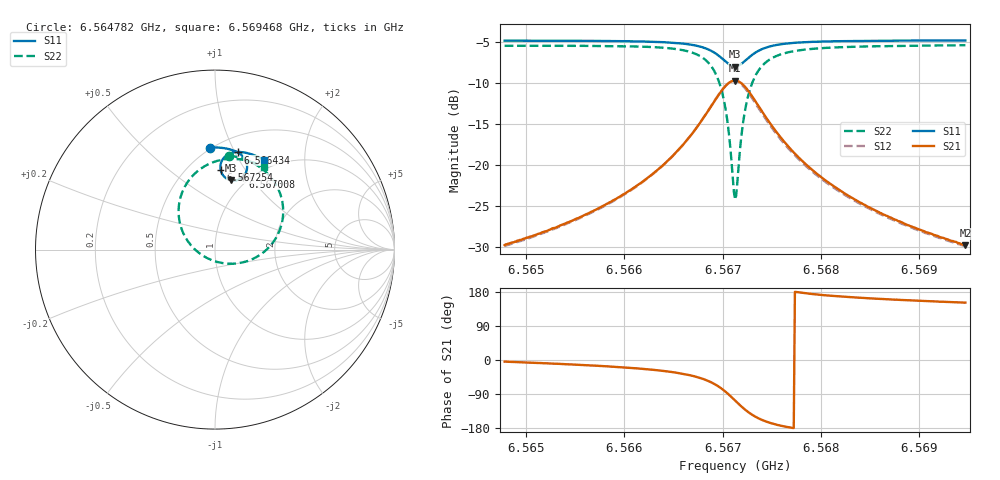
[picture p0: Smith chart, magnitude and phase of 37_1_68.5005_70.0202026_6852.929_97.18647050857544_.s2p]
#  HZ  S  RI  R  50.00
! Rohde & Schwarz Vector Network Analyzer
! Rohde-Schwarz,ZNB20-2Port,1311601062101988,3.16
! Created: UTC 3/20/2024, 4:50:10 PM
! freq[Hz]  re:S11  im:S11  re:S21  im:S21  re:S12  im:S12  re:S22  im:S22
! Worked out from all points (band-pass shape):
!   401 points, 6.564782 GHz to 6.569468 GHz, reference 50 ohm
!   highest |S21| = -9.74 dB at 6.567125 GHz (marker M1); lowest = -29.8 dB at 6.569468 GHz (marker M2)
!   |S21| within 3 dB of the highest: 6.56689 GHz to 6.567359 GHz (468.9 kHz wide, 0.00714 % of centre)
!   lowest |S11| = -8.0 dB at 6.567125 GHz (marker M3), VSWR 2.31, Z = 42.9 + j39.3 ohm
!   |S11| at or under -10 dB: nowhere
!   |S22| runs from -24.2 to -5.4 dB; largest |S21 - S12| = 0.017
!   S11 on the Smith chart (normalised r, x): 6.564782 GHz: 0.49, +0.82; 6.566434 GHz: 0.66, +1.03; 6.567008 GHz: 0.92, +0.93; 6.567254 GHz: 0.71, +0.78; 6.569468 GHz: 0.86, +1.29
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6.5647818e9  -0.0286 0.5687  0.0325 -0.00245  0.032 -0.0029  0.0762 0.5241
6.5655668e9  0.0382 0.5668  0.0473 -0.011  0.0467 -0.0117  0.1574 0.5056
6.5659886e9  0.0778 0.5599  0.0623 -0.0223  0.0613 -0.0229  0.2137 0.4814
6.5663518e9  0.117 0.5463  0.0842 -0.0439  0.083 -0.0449  0.2787 0.4364
6.5664338e9  0.1271 0.5412  0.091 -0.0524  0.0896 -0.0538  0.2968 0.4189
6.5666681e9  0.1581 0.5158  0.1139 -0.0964  0.1121 -0.0987  0.3546 0.3329
6.5668321e9  0.177 0.4781  0.1226 -0.1632  0.1192 -0.1673  0.3799 0.2038
6.5669376e9  0.1755 0.4378  0.1011 -0.2342  0.0941 -0.2391  0.3418 0.0687
6.5670079e9  0.1572 0.4069  0.0542 -0.2869  0.0428 -0.2905  0.2528 -0.0281
6.5670547e9  0.1336 0.3907  0.00276 -0.3124  -0.0118 -0.3129  0.1556 -0.0709
6.5671016e9  0.1029 0.3845  -0.061 -0.3186  -0.0765 -0.3138  0.0394 -0.0746
6.567125e9  0.0869 0.3867  -0.0936 -0.3121  -0.1087 -0.3044  -0.0184 -0.0587
6.5671485e9  0.0716 0.3921  -0.1244 -0.2992  -0.1382 -0.2892  -0.0713 -0.0313
6.567207e9  0.0425 0.4173  -0.183 -0.247  -0.1912 -0.2329  -0.166 0.0704
6.5672539e9  0.0316 0.4427  -0.2064 -0.1969  -0.2101 -0.1826  -0.1985 0.1618
6.5673476e9  0.0348 0.4868  -0.208 -0.1117  -0.206 -0.1008  -0.1861 0.3102
6.5674882e9  0.062 0.5232  -0.1719 -0.0414  -0.1679 -0.0354  -0.1078 0.4279
6.5676522e9  0.0939 0.5392  -0.1323 -0.00785  -0.1289 -0.00486  -0.0255 0.481
6.56791e9  0.1329 0.5441  -0.0929 0.00957  -0.0905 0.011  0.0616 0.5038
6.5682849e9  0.1751 0.5388  -0.0626 0.0155  -0.0612 0.0163  0.1391 0.5028
6.568695e9  0.2125 0.5281  -0.0453 0.0165  -0.0442 0.0169  0.1957 0.4906
6.5694682e9  0.2727 0.5016  -0.0285 0.0155  -0.0279 0.0158  0.2718 0.4597
